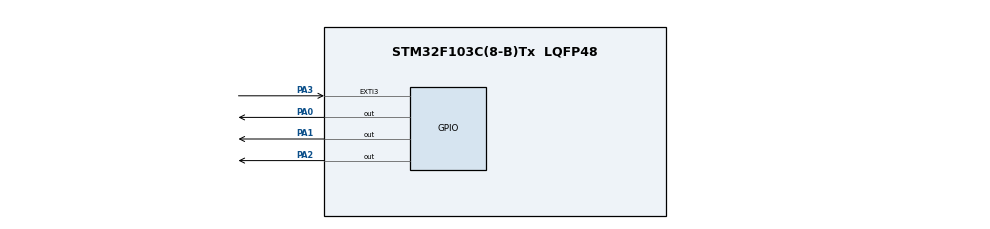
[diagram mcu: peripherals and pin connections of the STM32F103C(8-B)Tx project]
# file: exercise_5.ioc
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Mcu.Family=STM32F1
Mcu.Name=STM32F103C(8-B)Tx
Mcu.Package=LQFP48
NVIC.EXTI3_IRQn=true\:5\:0\:true\:false\:true\:true\:true\:true
NVIC.PriorityGroup=NVIC_PRIORITYGROUP_4
NVIC.TIM2_IRQn=true\:15\:0\:false\:false\:true\:false\:true\:true
NVIC.TimeBase=TIM2_IRQn
NVIC.TimeBaseIP=TIM2
PA0-WKUP.Signal=GPIO_Output
PA1.Signal=GPIO_Output
PA13.Mode=Serial_Wire
PA13.Signal=SYS_JTMS-SWDIO
PA14.Mode=Serial_Wire
PA14.Signal=SYS_JTCK-SWCLK
PA2.Signal=GPIO_Output
PA3.Signal=GPXTI3
ProjectManager.HeapSize=0x200
ProjectManager.StackSize=0x400
ProjectManager.TargetToolchain=STM32CubeIDE
RCC.APB1Freq_Value=8000000
RCC.APB2Freq_Value=8000000
VP_SYS_VS_tim2.Mode=TIM2
board=custom

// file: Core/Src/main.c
/* USER CODE BEGIN Header */
/**
  ******************************************************************************
  * @file           : main.c
  * @brief          : Main program body
  ******************************************************************************
  * @attention
  *
  * Copyright (c) 2024 STMicroelectronics.
  * All rights reserved.
  *
  * This software is licensed under terms that can be found in the LICENSE file
  * in the root directory of this software component.
  * If no LICENSE file comes with this software, it is provided AS-IS.
  *
  ******************************************************************************
  */
/* USER CODE END Header */
#include "main.h"

/* USER CODE BEGIN Includes */
#include "FreeRTOS.h"
#include "task.h"
/* USER CODE END Includes */

/* USER CODE BEGIN PV */
    TaskHandle_t Task_1_handle =NULL, Task_2_handle= NULL, Task_3_handle =NULL, next_handle;

void Task_1_Handler(void * parameters)
{
	BaseType_t ret = pdFALSE;
	while(1)
	{
		HAL_GPIO_TogglePin(GPIOA, GPIO_PIN_0);
		ret = xTaskNotifyWait( 0, 0, NULL,pdMS_TO_TICKS(500));

		if(ret == pdTRUE)
		{
			HAL_GPIO_WritePin(GPIOA, GPIO_PIN_0, GPIO_PIN_SET);

			taskENTER_CRITICAL();
			next_handle = Task_2_handle;
			taskEXIT_CRITICAL();

			vTaskDelete( NULL);
		}
	}
}

void Task_2_Handler(void * parameters)
{
	BaseType_t ret = pdFALSE;
	while(1)
	{
		HAL_GPIO_TogglePin(GPIOA, GPIO_PIN_1);
		ret = xTaskNotifyWait( 0, 0, NULL,pdMS_TO_TICKS(500));

		if(ret == pdTRUE)
		{
			HAL_GPIO_WritePin(GPIOA, GPIO_PIN_1, GPIO_PIN_SET);

			taskENTER_CRITICAL();
			next_handle = Task_3_handle;
			taskEXIT_CRITICAL();

			vTaskDelete( NULL);
		}
	}
}

void Task_3_Handler(void * parameters)
{
	BaseType_t ret = pdFALSE;
	while(1)
	{
		HAL_GPIO_TogglePin(GPIOA, GPIO_PIN_2);
		ret = xTaskNotifyWait( 0, 0, NULL,pdMS_TO_TICKS(500));

		if(ret == pdTRUE)
		{
			HAL_GPIO_WritePin(GPIOA, GPIO_PIN_2, GPIO_PIN_SET);

			taskENTER_CRITICAL();
			next_handle = NULL;
			taskEXIT_CRITICAL();

			vTaskDelete( NULL);
		}
	}
}

sendNotification()
{
	BaseType_t xHigherPriorityTaskWoken;
	xTaskNotifyFromISR( next_handle, 0, eNoAction, &xHigherPriorityTaskWoken );

	portYIELD_FROM_ISR( xHigherPriorityTaskWoken );
}
/* USER CODE END PV */

void SystemClock_Config(void);
static void MX_GPIO_Init(void);

int main(void)
{

  /* MCU Configuration--------------------------------------------------------*/

  /* Reset of all peripherals, Initializes the Flash interface and the Systick. */
  HAL_Init();

  /* USER CODE BEGIN Init */
  	BaseType_t Task_return;
  /* USER CODE END Init */

  /* Configure the system clock */
  SystemClock_Config();

  /* Initialize all configured peripherals */
  MX_GPIO_Init();
  /* USER CODE BEGIN 2 */
  Task_return = xTaskCreate( Task_1_Handler, "Toggle_1", 100, NULL, 1, &Task_1_handle );
  Task_return = xTaskCreate( Task_2_Handler, "Toggle_1", 100, NULL, 2, &Task_2_handle );
  Task_return = xTaskCreate( Task_3_Handler, "Toggle_1", 100, NULL, 3, &Task_3_handle );

  next_handle= Task_1_handle;

  vTaskStartScheduler();
  /* USER CODE END 2 */

  /* Infinite loop */
  while (1)
  {

  }
}

void SystemClock_Config(void)
{
  RCC_OscInitTypeDef RCC_OscInitStruct = {0};
  RCC_ClkInitTypeDef RCC_ClkInitStruct = {0};

  /** Initializes the RCC Oscillators according to the specified parameters
  * in the RCC_OscInitTypeDef structure.
  */
  RCC_OscInitStruct.OscillatorType = RCC_OSCILLATORTYPE_HSI;
  RCC_OscInitStruct.HSIState = RCC_HSI_ON;
  RCC_OscInitStruct.HSICalibrationValue = RCC_HSICALIBRATION_DEFAULT;
  RCC_OscInitStruct.PLL.PLLState = RCC_PLL_NONE;
  if (HAL_RCC_OscConfig(&RCC_OscInitStruct) != HAL_OK)
  {
    Error_Handler();
  }

  /** Initializes the CPU, AHB and APB buses clocks
  */
  RCC_ClkInitStruct.ClockType = RCC_CLOCKTYPE_HCLK|RCC_CLOCKTYPE_SYSCLK
                              |RCC_CLOCKTYPE_PCLK1|RCC_CLOCKTYPE_PCLK2;
  RCC_ClkInitStruct.SYSCLKSource = RCC_SYSCLKSOURCE_HSI;
  RCC_ClkInitStruct.AHBCLKDivider = RCC_SYSCLK_DIV1;
  RCC_ClkInitStruct.APB1CLKDivider = RCC_HCLK_DIV1;
  RCC_ClkInitStruct.APB2CLKDivider = RCC_HCLK_DIV1;

  if (HAL_RCC_ClockConfig(&RCC_ClkInitStruct, FLASH_LATENCY_0) != HAL_OK)
  {
    Error_Handler();
  }
}

static void MX_GPIO_Init(void)
{
  GPIO_InitTypeDef GPIO_InitStruct = {0};

  /* GPIO Ports Clock Enable */
  __HAL_RCC_GPIOA_CLK_ENABLE();

  /*Configure GPIO pin Output Level */
  HAL_GPIO_WritePin(GPIOA, GPIO_PIN_0|GPIO_PIN_1|GPIO_PIN_2, GPIO_PIN_RESET);

  /*Configure GPIO pins : PA0 PA1 PA2 */
  GPIO_InitStruct.Pin = GPIO_PIN_0|GPIO_PIN_1|GPIO_PIN_2;
  GPIO_InitStruct.Mode = GPIO_MODE_OUTPUT_PP;
  GPIO_InitStruct.Pull = GPIO_NOPULL;
  GPIO_InitStruct.Speed = GPIO_SPEED_FREQ_LOW;
  HAL_GPIO_Init(GPIOA, &GPIO_InitStruct);

  /*Configure GPIO pin : PA3 */
  GPIO_InitStruct.Pin = GPIO_PIN_3;
  GPIO_InitStruct.Mode = GPIO_MODE_IT_RISING;
  GPIO_InitStruct.Pull = GPIO_NOPULL;
  HAL_GPIO_Init(GPIOA, &GPIO_InitStruct);

  /* EXTI interrupt init*/
  HAL_NVIC_SetPriority(EXTI3_IRQn, 5, 0);
  HAL_NVIC_EnableIRQ(EXTI3_IRQn);

}

void HAL_TIM_PeriodElapsedCallback(TIM_HandleTypeDef *htim)
{
  if (htim->Instance == TIM2) {
    HAL_IncTick();
  }
}

void Error_Handler(void)
{
  __disable_irq();
  while (1)
  {
  }
}
